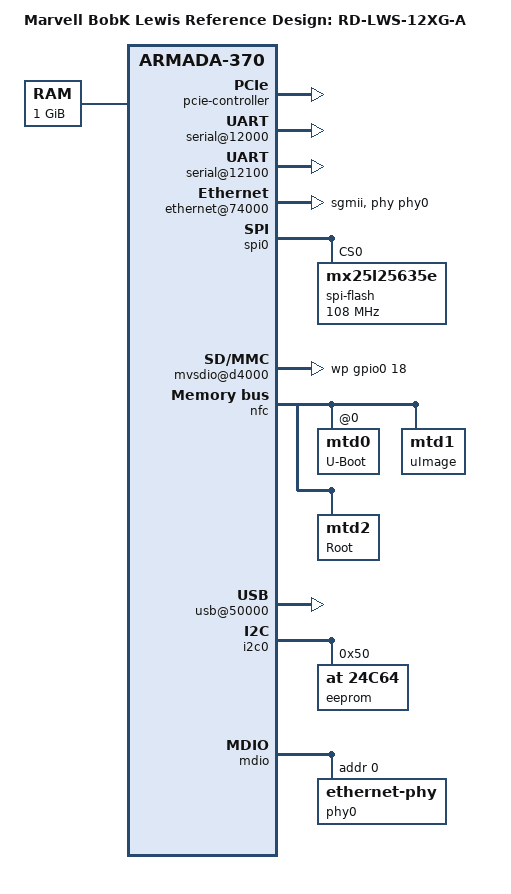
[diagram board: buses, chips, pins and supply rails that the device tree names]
/*
 * Device Tree file for Marvell BobK Lewis Reference Design
 * Supported Boards:
 * (RD-LWS-12XG-A)
 *
 * Copyright (C) 2015 Marvell
 *
 * This file is licensed under the terms of the GNU General Public
 * License version 2.  This program is licensed "as is" without any
 * warranty of any kind, whether express or implied.
 */

/dts-v1/;
#include <dt-bindings/gpio/gpio.h>
#include "msys-bobk.dtsi"

/ {
	model = "Marvell BobK Lewis Reference Design: RD-LWS-12XG-A";
	compatible = "marvell,msys", "marvell,msys-bobk", "marvell,msys-bobk-lewis",
		     "marvell,msys-bobk-lewis-rd", "marvell,armada-370-xp";

	chosen {
		bootargs = "console=ttyS0,115200 earlyprintk";
	};

	memory {
		/*
                 * 1GB of plug-in RAM modules by default. The amount
                 * of memory available can be changed by the
                 * bootloader according the size of the module
                 * actually plugged.
		 */
		device_type = "memory";
		reg = <0x00000000 0x00000000 0x00000000 0x40000000>;
	};

	soc {
		devbus-bootcs {
			pinctrl-names = "default";
			pinctrl-0 = <&devbus_pins>;

			/* NOR 16 MiB */
			nor@0 {
				compatible = "cfi-flash";
				reg = <0 0x1000000>;
				bank-width = <2>;
			};
		};

		pcie-controller {
			status = "okay";

			pcie@1,0 {
				status = "okay";
			};
		};

		internal-regs {
			serial@12000 {
				status = "okay";
			};

			serial@12100 {
				status = "okay";
			};

			/* Gbe MAC 0 is connected to switch port #62. */
			/* TODO: Enable the Gbe MAC 0 with fix-link. */
			ethernet@70000 {
				status = "disabled";
			};

			/* Gbe MAC 1 is connected to the out-of-band phy */
			/* since its 'phy' node's parent node - 'switch/mdio' node has 'smi-indirect-access' flag. */
			ethernet@74000 {
				status = "okay";
				phy = <&phy0>;
				phy-mode = "sgmii";
			};

			spi0: spi@10600 {
				pinctrl-names = "default";
				pinctrl-0 = <&spi_pins>;
				status = "okay";

				spi-flash@0 {
					#address-cells = <1>;
					#size-cells = <1>;
					compatible = "mx25l25635e";
					reg = <0>; /* Chip select 0 */
					spi-max-frequency = <108000000>;
				};
			};

			mvsdio@d4000 {
				pinctrl-names = "default";
				pinctrl-0 = <&sdio_pins>;
				status = "okay";
				wp-gpios = <&gpio0 18 0>;
				broken-cd;
			};

			nfc: nand-flash@d0000 {
				pinctrl-names = "default";
				pinctrl-0 = <&nand_pins>;
				#address-cells = <1>;
				#size-cells = <1>;
				status = "okay";

				nfc,nfc-mode  = "normal";       /* normal or ganged */
				nfc,nfc-dma   = <0>;            /* 0 for no, 1 for dma */
				nfc,nfc-width = <8>;
				nfc,ecc-type  = <1>;            /* 4 bit */
				nfc,num-cs    = <1>;

				mtd0@00000000 {
					label = "U-Boot";
					reg = <0x00000000 0x00800000>;
					read-only;
				};

				mtd1@00080000 {
					label = "uImage";
					reg = <0x00800000 0x00800000>;
					read-only;
				};

				mtd2@00140000 {
					label = "Root";
					reg = <0x01000000 0x3f000000>;
				};
			};

			usb@50000 {
				status = "okay";
			};

			i2c0: i2c@11000 {
				pinctrl-names = "default";
				pinctrl-0 = <&i2c0_pins>;
				eeprom@50 {
					compatible = "at,24c64";
					pagesize = <32>;
					reg = <0x50>;
					marvell,board_id_reg = <0x7>;
				};
			};
		};

		prestera {
			pinctrl-names = "default", "default";
			pinctrl-0 = <&pp_pin>;
			pinctrl-1 = <&slvsmi_pins>;
			status = "okay";
			/*  the CPSS board ID can be enforced
			cpss_force_board_id = <0x52>; */
			cm3 {
				status = "okay";
			};
		};
	};

	switch {
		#address-cells = <1>;
		#size-cells = <1>;
		mdio {
			#address-cells = <1>;
			#size-cells = <0>;
			reg = <0x54000000 0x8>; /* Switch SMI register base */
			smi-indirect-access;
			phy0: ethernet-phy@0 {
				reg = <0>;
			};
		};
	};
};
